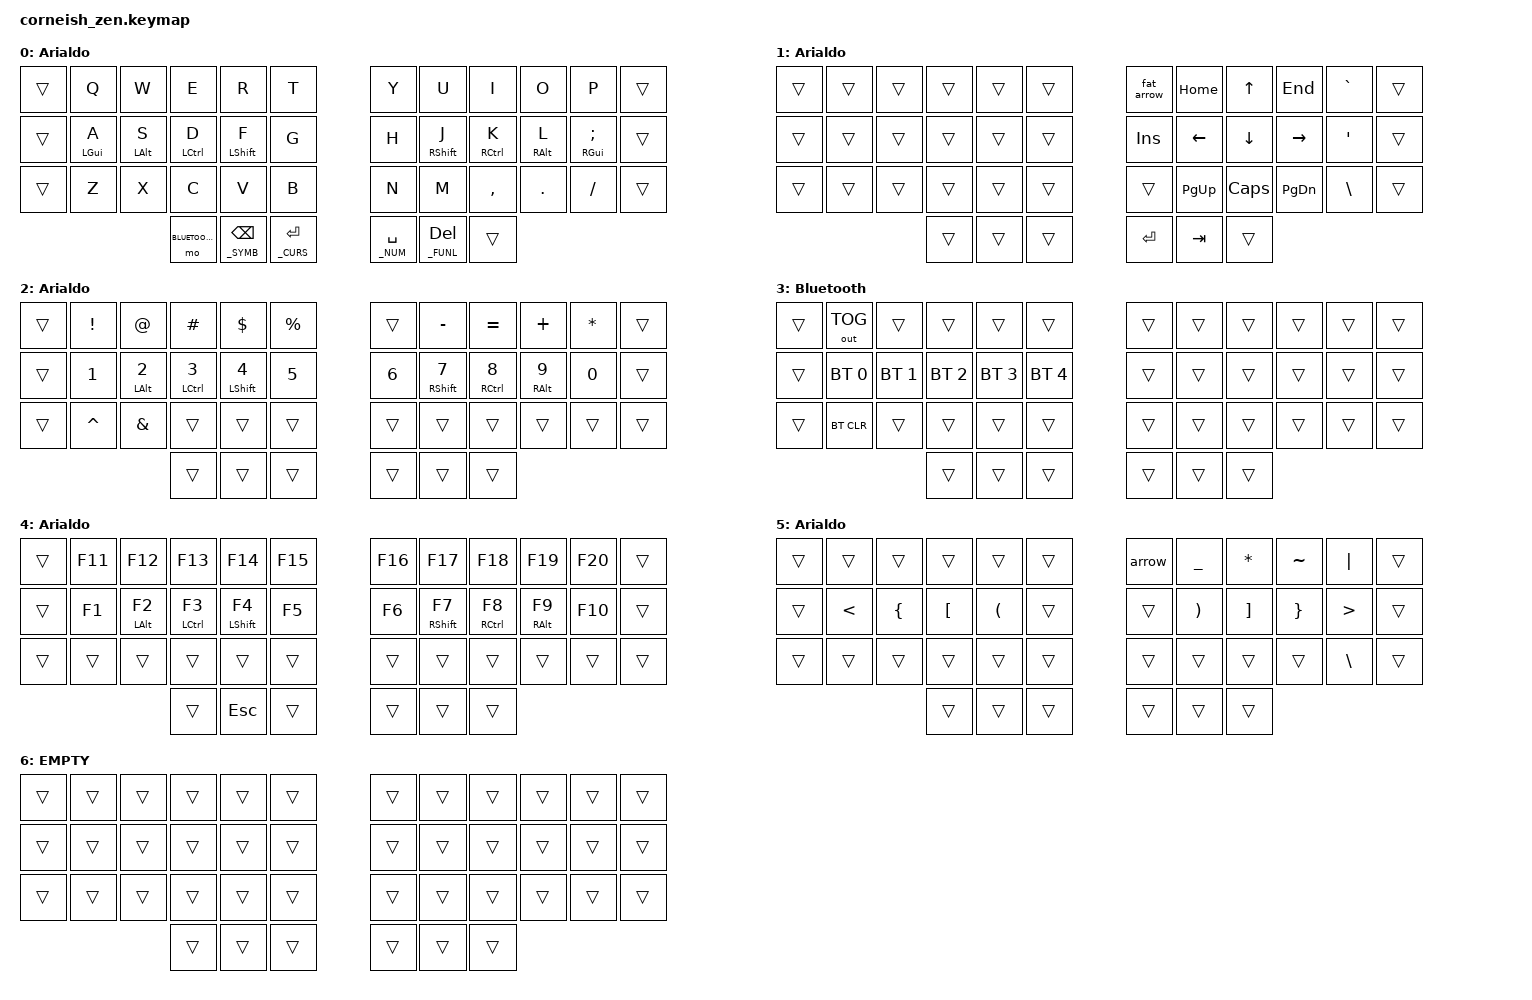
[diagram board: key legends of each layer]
/*
*
* Copyright (c) 2021 Darryl deHaan
* SPDX-License-Identifier: MIT
*
*/

#include <behaviors.dtsi>
#include <dt-bindings/zmk/keys.h>
#include <dt-bindings/zmk/bt.h>
#include <dt-bindings/zmk/outputs.h>

/ {
  chosen {
    zmk,matrix_transform = &default_transform;
    //zmk,matrix_transform = &five_column_transform;
  };
};

#define _BASE       0  // base keyboard
#define _CURS       1  // cursors
#define _NUM        2  // numbers and operations
#define _BLUETOOTH  3  // layer to manage blue tooth connection
#define _FUNL       4  // Function keys
#define _SYMB       5  // Parenthesis



// Left hand
#define MY_S       &mt LALT S
#define MY_2       &mt LALT N2
#define MY_F2      &mt LALT F2


#define MY_D       &mt LCTRL D
#define MY_3       &mt LCTRL N3
#define MY_F3       &mt LCTRL F3

#define MY_F       &mt LSHIFT F
#define MY_4       &mt LSHIFT N4
#define MY_F4       &mt LSHIFT F4


#define MY_E       &mt LGUI E

// Right hand
#define MY_J       &mt RSHIFT J
#define MY_7       &mt RSHIFT N7
#define MY_F7      &mt RSHIFT F7

#define MY_K       &mt RCTRL K
#define MY_8       &mt RCTRL N8
#define MY_F8      &mt RCTRL F8

#define MY_L       &mt RALT L
#define MY_9       &mt RALT N9
#define MY_F9      &mt RALT F9

#define MY_I       &mt RGUI I

#define MY_A       &mt LGUI A
#define MY_SEMI    &mt RGUI SEMI

#define MY_SPC     &lt _NUM SPC
#define MY_SPACE   &lt _NUM SPACE
#define MY_RET     &lt _CURS RET


#define MY_DEL  &lt _FUNL DEL
#define MY_BSPC  &lt _SYMB BSPC


/ {
    macros {
        arrow: arrow {
            compatible = "zmk,behavior-macro";
            #binding-cells = <0>;
            bindings
                = <&macro_tap &kp MINUS &kp GT>
                ;
        };
    };
};
/ {
    macros {
        fat_arrow: fat_arrow {
            compatible = "zmk,behavior-macro";
            #binding-cells = <0>;
            bindings
                = <&macro_tap &kp EQUAL &kp GT>
                ;
        };
    };
};


&mt {
    flavor = "tap-preferred";
    tapping-term-ms = <150>;
    quick-tap-ms = <120>;
    global-quick-tap;
};

/ {
        keymap {
                compatible = "zmk,keymap";

                // _BASE 0
                default_layer {
                        label = "Arialdo";
// ------------------------------------------------------`   '----------------------------------------
// |  Q       |  W     |  E      |  R       |  T  |   |  Y  |  U        |  I       |  O      |  P    |
// |  A/GUI   |  S/ALT |  D/CTRL |  F/SHIFT |  G  |   |  H  |  J/SHIFT  |  K/CTRL  |  L/ALT  | ;/GUI |
// |  Z       |  X     |  C      |  V       |  B  |   |  N  |  M        |          |  .      |  /    |
//                  | Bluetooth   | BSPC/SYMB | RET/CUR |  | SPACE/NUM | DEL/FUNL  |     |

                        bindings = <
   &trans  &kp Q  &kp W  &kp E        &kp R  &kp T         &kp Y  &kp U    &kp I          &kp O    &kp P      &trans
   &trans  MY_A   MY_S   MY_D         MY_F   &kp G         &kp H  MY_J     MY_K            MY_L     MY_SEMI    &trans
   &trans  &kp Z  &kp X  &kp C        &kp V  &kp B         &kp N  &kp M    &kp COMMA       &kp DOT  &kp FSLH   &trans
                   &mo _BLUETOOTH   MY_BSPC    MY_RET    MY_SPACE   MY_DEL  &trans
                        >;
                };

                // _CURS 1
                cursors_layer {
                        label = "Arialdo";
// -------------------------------------------------------------------
// |     |     |     |     |     |   | =>  | Home |   ^  | End | `   |
// |     |     |     |     |     |   | Ins | <--  | Down | --> |  '  |
// |     |     |     |     |     |   |     | PgUp | CAPS | PgDn|  \  |
//           |     |     |     |       |      | Tab   |      |
                        bindings = <
   &trans     &trans       &trans       &trans       &trans       &trans         &fat_arrow  &kp HOME   &kp UP    &kp END    &kp GRAVE           &trans
   &trans     &trans       &trans       &trans       &trans       &trans         &kp INS         &kp LEFT   &kp DOWN  &kp RIGHT  &kp SINGLE_QUOTE    &trans
   &trans     &trans       &trans       &trans       &trans       &trans         &trans          &kp PG_UP  &kp CAPS  &kp PG_DN  &kp BACKSLASH       &trans
                          	         &trans  &trans  &trans       &kp RET  &kp TAB    &trans
                        >;
                };


                // _NUM = 3
                numbers_layer {
                        label = "Arialdo";

// -------------------------------------------------------------------
// |  !  |  @  |  #  |  $  |  %  |   |     |  -   |  =   |  +  |  *  |
// |  1  |  2  |  3  |  4  |  5  |   |  6  |  7   |  8   |  9  |  0  |
// |  ^  |  &  |     |     |     |   |     |      |      |     |     |
//             |     |     |     |   |     |      |      |
                        bindings = <
   &trans     &kp EXCL     &kp AT       &kp HASH     &kp DLLR     &kp PERCENT    &trans   &kp MINUS   &kp EQUAL   &kp PLUS  &kp STAR   &trans
   &trans     &kp N1       MY_2         MY_3         MY_4         &kp N5         &kp N6   MY_7        MY_8        MY_9    &kp N0     &trans
   &trans     &kp CARET    &kp AMPS     &trans       &trans       &trans         &trans   &trans      &trans      &trans    &trans     &trans
                          	            &trans     &trans        &trans             &trans    &trans     &trans
                        >;
                };


                // _BLUETOOTH = 4
                bluetooth_layer {
                        label = "Bluetooth";

// -------------------------------------------------------------------
// | TGL |     |     |     |     |   |     |      |      |     |     |
// | BT0 | BT1 | BT2 | BT3 | BT4 |   |     |      |      |     |     |
// | CLR |     |     |     |     |   |     |      |      |     |     |
//                    |     |     |     |   |     |      |      |
                        bindings = <
   &trans     &out OUT_TOG   &trans        &trans        &trans        &trans         &trans   &trans   &trans &trans    &trans &trans
   &trans     &bt  BT_SEL 0  &bt BT_SEL 1  &bt BT_SEL 2  &bt BT_SEL 3  &bt BT_SEL 4   &trans   &trans   &trans &trans    &trans &trans
   &trans     &bt  BT_CLR    &trans        &trans        &trans        &trans         &trans   &trans   &trans &trans    &trans &trans
                          	    &trans     &trans       &trans      &trans  &trans   &trans
                        >;
                };


                // _FUNCTION = 5
                function_layer {
                        label = "Arialdo";

// -------------------------------------------------------------------
// | F11 | F12 | F14 | F15 | F16 |   | F17 | F18  |  F19 | F20 | F20 |
// | F1  | F2  | F3  | F4  | F5  |   | F6  | F7   |  F8  | F9  | F0  |
// |     |     |     |     |     |   |     |      |      |     |     |
//                    |     | Esc |     |   |     |      |      |
                        bindings = <
   &trans     &kp F11      &kp F12      &kp F13      &kp F14      &kp F15        &kp F16  &kp F17  &kp F18  &kp F19  &kp F20  &trans
   &trans     &kp F1       MY_F2        MY_F3        MY_F4        &kp F5         &kp F6   MY_F7    MY_F8    MY_F9    &kp F10  &trans
   &trans     &trans       &trans       &trans       &trans       &trans         &trans   &trans   &trans   &trans   &trans   &trans
                          	                  &trans    &kp ESC     &trans      &trans  &trans   &trans
                        >;
                };



                // _SYMB = 6
                symbols_layer {
                        label = "Arialdo";

// -------------------------------------------------------------------
// |     |     |     |     |     |   |  -> |  _   |  *   |  ~  |  |  |
// |  <  |  {  |  [  |  (  |     |   |     |  )   |  ]   |   } |  >  |
// |     |     |     |     |     |   |     |      |      |     |  \  |
//                    |     |     |     |   |     |      |      |
                        bindings = <
   &trans     &trans       &trans       &trans       &trans       &trans         &arrow      &kp UNDER  &kp STAR    &kp TILDE  &kp PIPE    &trans
   &trans     &kp LT       &kp LBRC     &kp LBKT     &kp LPAR     &trans         &trans      &kp RPAR   &kp RBKT  &kp RBRC   &kp GT    &trans
   &trans     &trans       &trans       &trans       &trans       &trans         &trans      &trans     &trans    &trans     &kp BSLH    &trans
                          	        &trans     &trans       &trans      &trans  &trans      &trans
                        >;
                };


                // EMPTY = 7
                empty_layer {
                        label = "EMPTY";

// -------------------------------------------------------------------
// |     |     |     |     |     |   |     |      |      |     |     |
// |     |     |     |     |     |   |     |      |      |     |     |
// |     |     |     |     |     |   |     |      |      |     |     |
//                    |     |     |     |   |     |      |      |
                        bindings = <
   &trans     &trans       &trans       &trans       &trans       &trans         &trans   &trans   &trans &trans    &trans &trans
   &trans     &trans       &trans       &trans       &trans       &trans         &trans   &trans   &trans &trans    &trans &trans
   &trans     &trans       &trans       &trans       &trans       &trans         &trans   &trans   &trans &trans    &trans &trans
                          	        &trans     &trans       &trans      &trans  &trans   &trans
                        >;
                };
        };
};
